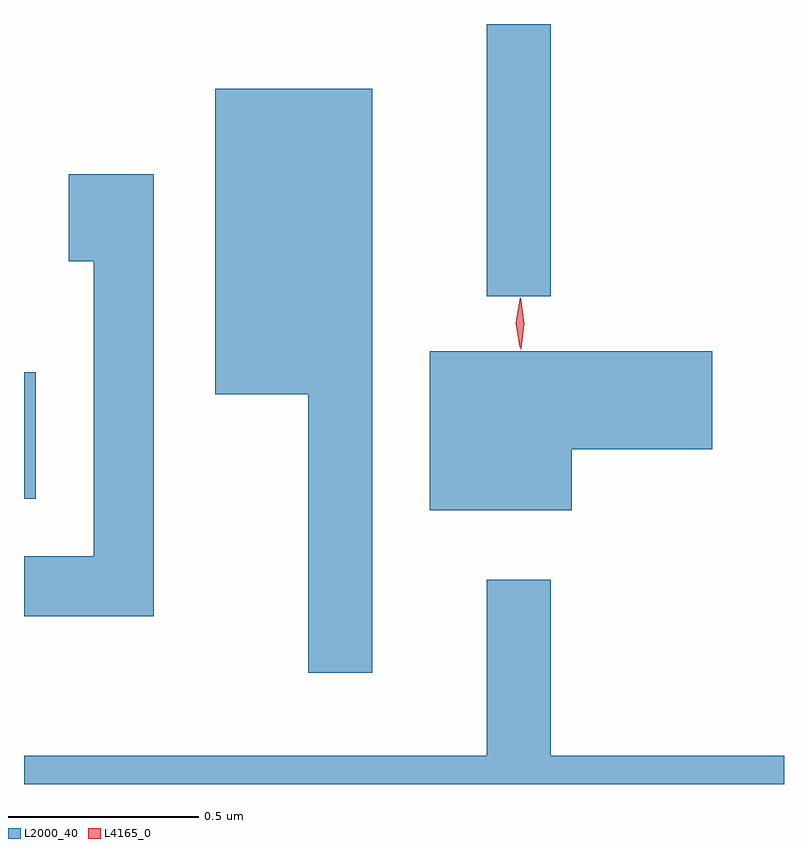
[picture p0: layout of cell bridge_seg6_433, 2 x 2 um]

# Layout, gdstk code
import gdstk
lib = gdstk.Library(unit=1e-6, precision=1e-09)
def R(c, l, rs):  # rectangles x0, y0, x1, y1
    for r in rs: c.add(gdstk.rectangle(r[:2], r[2:], *l))
def P(c, l, *ps):  # polygons
    for p in ps: c.add(gdstk.Polygon(p, *l))
L2000_40 = (2000, 40)
L4165_0 = (4165, 0)

bridge_seg6_433 = lib.new_cell('bridge_seg6_433')
R(bridge_seg6_433, L2000_40, [(921.493,1642.001,921.524,1642.334), (922.711,1642.533,922.879,1643.25)])
P(bridge_seg6_433, L2000_40, [(922.409,1643.079),(921.996,1643.079),(921.996,1642.276),(922.241,1642.276),(922.241,1641.543),(922.409,1641.543)],
  [(921.834,1642.854),(921.611,1642.854),(921.611,1642.626),(921.676,1642.626),(921.676,1641.849),(921.493,1641.849),(921.493,1641.691),(921.834,1641.691)],
  [(922.934,1642.131),(923.304,1642.131),(923.304,1642.389),(922.561,1642.389),(922.561,1641.971),(922.934,1641.971)],
  [(923.493,1641.324),(922.879,1641.324),(922.879,1641.788),(922.711,1641.788),(922.711,1641.324),(921.493,1641.324),(921.493,1641.25),(923.493,1641.25)])
P(bridge_seg6_433, L4165_0, [(922.8,1642.394),(922.8,1642.394),(922.79,1642.462),(922.799,1642.53),(922.8,1642.53),(922.8,1642.53),(922.81,1642.462),(922.801,1642.394)],
  [(922.797,1642.4),(922.797,1642.4),(922.787,1642.463),(922.797,1642.526),(922.797,1642.527),(922.798,1642.526),(922.807,1642.463),(922.798,1642.4)])

lib.write_gds('bridge_seg6_433.gds')
